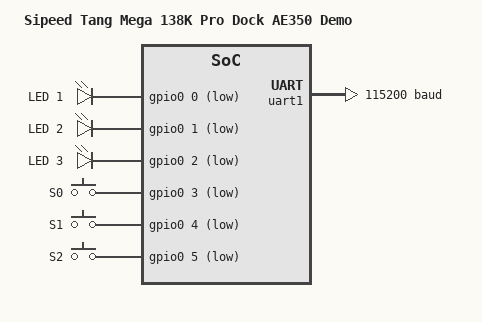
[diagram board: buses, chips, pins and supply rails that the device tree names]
/*
 * SPDX-FileCopyrightText: Copyright (c) 2026 TOKITA Hiroshi
 * SPDX-License-Identifier: Apache-2.0
 */

/dts-v1/;

#include "tang_mega_138k_pro_ae350.dts"
#include <zephyr/dt-bindings/gpio/gpio.h>
#include <zephyr/dt-bindings/input/input-event-codes.h>

/ {
	model = "Sipeed Tang Mega 138K Pro Dock AE350 Demo";
	compatible = "sipeed,tang-mega-138k-pro-ae350-demo";

	chosen {
		zephyr,code-partition = &code_partition;
	};

	aliases {
		led0 = &led0;
		led1 = &led1;
		led2 = &led2;
		sw0 = &key0;
		sw1 = &key1;
		sw2 = &key2;
	};

	leds {
		compatible = "gpio-leds";

		led0: led_0 {
			gpios = <&gpio0 0 GPIO_ACTIVE_LOW>;
			label = "LED 1";
		};

		led1: led_1 {
			gpios = <&gpio0 1 GPIO_ACTIVE_LOW>;
			label = "LED 2";
		};

		led2: led_2 {
			gpios = <&gpio0 2 GPIO_ACTIVE_LOW>;
			label = "LED 3";
		};
	};

	gpio_keys {
		compatible = "gpio-keys";

		key0: key_0 {
			gpios = <&gpio0 3 GPIO_ACTIVE_LOW>;
			label = "S0";
			zephyr,code = <INPUT_KEY_0>;
		};

		key1: key_1 {
			gpios = <&gpio0 4 GPIO_ACTIVE_LOW>;
			label = "S1";
			zephyr,code = <INPUT_KEY_1>;
		};

		key2: key_2 {
			gpios = <&gpio0 5 GPIO_ACTIVE_LOW>;
			label = "S2";
			zephyr,code = <INPUT_KEY_2>;
		};
	};
};

&spiflash {
	/*
	 * The bitstream occupies the start of the configuration flash and maps the remainder
	 * at 0x80000000, so the first byte the CPU can see is at chip offset 0x600000. ranges
	 * carries that translation: partition offsets stay chip relative, which is what the
	 * flash programmer needs, while the linker gets the mapped address.
	 */
	reg = <0x80000000 DT_SIZE_M(10)>;
	ranges = <0x600000 0x80000000 DT_SIZE_M(10)>;
	#address-cells = <1>;
	#size-cells = <1>;

	code_partition: partition@600000 {
		compatible = "zephyr,mapped-partition";
		label = "code";
		reg = <0x600000 DT_SIZE_M(10)>;
	};
};

&dram {
	reg = <0x00000000 DT_SIZE_M(256)>;
};

&uart1 {
	clock-frequency = <50000000>;
	current-speed = <115200>;
	status = "okay";
};

&gpio0 {
	ngpios = <6>;
	status = "okay";
};
